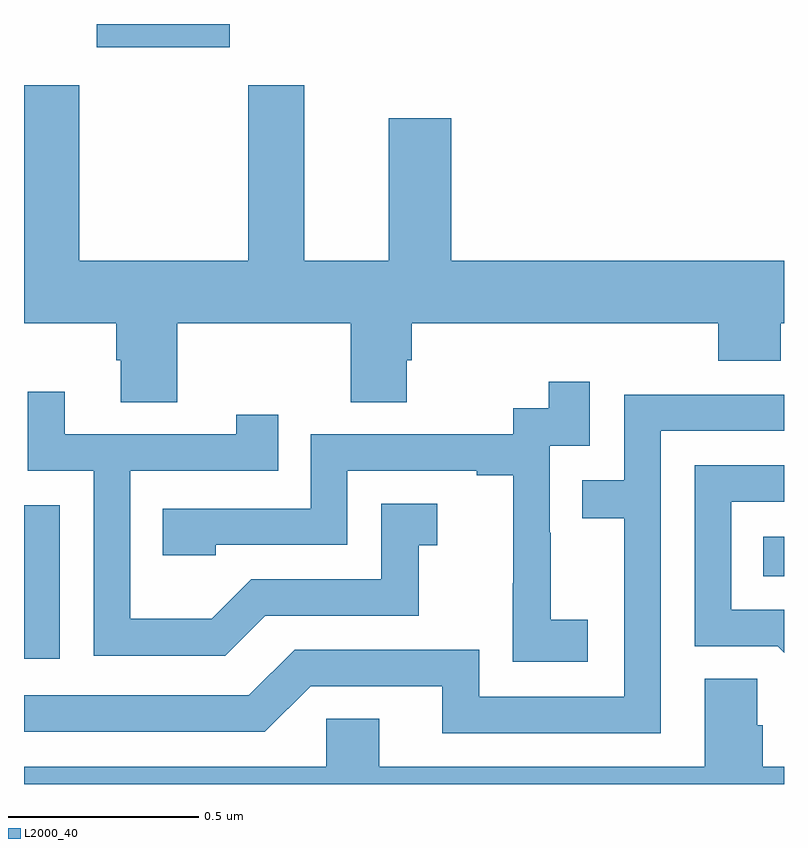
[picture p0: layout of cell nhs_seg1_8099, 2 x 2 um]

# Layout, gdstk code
import gdstk
lib = gdstk.Library(unit=1e-6, precision=1e-09)
def R(c, l, rs):  # rectangles x0, y0, x1, y1
    for r in rs: c.add(gdstk.rectangle(r[:2], r[2:], *l))
def P(c, l, *ps):  # polygons
    for p in ps: c.add(gdstk.Polygon(p, *l))
L2000_40 = (2000, 40)

nhs_seg1_8099 = lib.new_cell('nhs_seg1_8099')
R(nhs_seg1_8099, L2000_40, [(212,537.528,212.094,537.933), (213.946,537.746,214,537.85), (212.192,539.138,212.542,539.199)])
P(nhs_seg1_8099, L2000_40, [(212,539.038),(212,538.412),(212.243,538.412),(212.243,538.314),(212.255,538.314),(212.255,538.204),(212.403,538.204),(212.403,538.412),(212.86,538.412),(212.86,538.204),(213.007,538.204),(213.007,538.314),(213.02,538.314),(213.02,538.412),(213.827,538.412),(213.827,538.313),(213.992,538.313),(213.992,538.412),(214,538.412),(214,538.576),(213.124,538.576),(213.124,538.951),(212.96,538.951),(212.96,538.576),(212.737,538.576),(212.737,539.038),(212.59,539.038),(212.59,538.576),(212.145,538.576),(212.145,539.038)],
  [(213.484,537.631),(213.386,537.631),(213.386,537.86),(213.384,537.86),(213.384,538.089),(213.489,538.089),(213.489,538.258),(213.381,538.258),(213.381,538.188),(213.288,538.188),(213.288,538.119),(212.754,538.119),(212.754,537.924),(212.365,537.924),(212.365,537.801),(212.505,537.801),(212.505,537.828),(212.85,537.828),(212.85,538.023),(213.191,538.023),(213.191,538.011),(213.287,538.011),(213.287,537.727),(213.286,537.727),(213.286,537.521),(213.484,537.521)],
  [(212.635,537.642),(213.039,537.642),(213.039,537.827),(213.088,537.827),(213.088,537.937),(212.94,537.937),(212.94,537.738),(212.598,537.738),(212.494,537.634),(212.28,537.634),(212.28,538.023),(212.669,538.023),(212.669,538.171),(212.558,538.171),(212.558,538.119),(212.107,538.119),(212.107,538.231),(212.01,538.231),(212.01,538.023),(212.184,538.023),(212.184,537.537),(212.53,537.537)],
  [(213.675,538.128),(214,538.128),(214,538.224),(213.579,538.224),(213.579,537.999),(213.469,537.999),(213.469,537.898),(213.579,537.898),(213.579,537.429),(213.198,537.429),(213.198,537.552),(212.712,537.552),(212.592,537.432),(212,537.432),(212,537.336),(212.634,537.336),(212.754,537.456),(213.101,537.456),(213.101,537.333),(213.675,537.333)],
  [(214,537.657),(213.861,537.657),(213.861,537.942),(214,537.942),(214,538.038),(213.765,538.038),(213.765,537.561),(213.984,537.561),(214,537.545)],
  [(214,537.244),(213.944,537.244),(213.944,537.353),(213.93,537.353),(213.93,537.476),(213.791,537.476),(213.791,537.244),(212.935,537.244),(212.935,537.371),(212.796,537.371),(212.796,537.244),(212,537.244),(212,537.199),(214,537.199)])

lib.write_gds('nhs_seg1_8099.gds')
